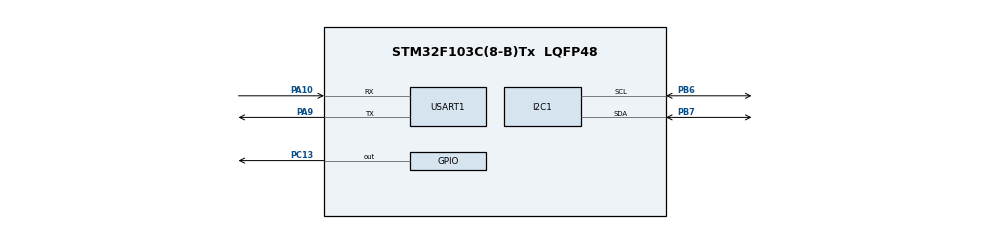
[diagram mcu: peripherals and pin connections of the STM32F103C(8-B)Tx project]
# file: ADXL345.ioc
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Mcu.Family=STM32F1
Mcu.Name=STM32F103C(8-B)Tx
Mcu.Package=LQFP48
NVIC.PriorityGroup=NVIC_PRIORITYGROUP_4
PA10.Mode=Asynchronous
PA10.Signal=USART1_RX
PA13.Mode=Serial_Wire
PA13.Signal=SYS_JTMS-SWDIO
PA14.Mode=Serial_Wire
PA14.Signal=SYS_JTCK-SWCLK
PA9.Mode=Asynchronous
PA9.Signal=USART1_TX
PB6.Mode=I2C
PB6.Signal=I2C1_SCL
PB7.Mode=I2C
PB7.Signal=I2C1_SDA
PC13-TAMPER-RTC.Signal=GPIO_Output
PD0-OSC_IN.Mode=HSE-External-Oscillator
PD0-OSC_IN.Signal=RCC_OSC_IN
PD1-OSC_OUT.Mode=HSE-External-Oscillator
PD1-OSC_OUT.Signal=RCC_OSC_OUT
ProjectManager.HeapSize=0x200
ProjectManager.StackSize=0x400
ProjectManager.TargetToolchain=STM32CubeIDE
RCC.APB1Freq_Value=8000000
RCC.APB2Freq_Value=8000000
USART1.VirtualMode=VM_ASYNC
board=custom

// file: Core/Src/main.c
/* USER CODE BEGIN Header */
/**
  ******************************************************************************
  * @file           : main.c
  * @brief          : Main program body
  ******************************************************************************
  * @attention
  *
  * Copyright (c) 2025 STMicroelectronics.
  * All rights reserved.
  *
  * This software is licensed under terms that can be found in the LICENSE file
  * in the root directory of this software component.
  * If no LICENSE file comes with this software, it is provided AS-IS.
  *
  ******************************************************************************
  */
/* USER CODE END Header */
#include "main.h"
#include "stdio.h"
#include "string.h"

#define ADXL345_ADDR           (0x53 << 1) // shift left for STM32 HAL
#define ADXL345_REG_DEVID      0x00
#define ADXL345_REG_POWER_CTL  0x2D

#define ADXL345_DATA_FORMAT		0x31		// Data Format Control

#define ADXL345_DATAX0			0x32		// X-Axis Data 0
/*
#define ADXL345_DATAX1			0x33		// X-Axis Data 1
#define ADXL345_DATAY0			0x34		// Y-Axis Data 0
#define ADXL345_DATAY1			0x35		// Y-Axis Data 1
#define ADXL345_DATAZ0			0x36		// Z-Axis Data 0
#define ADXL345_DATAZ1			0x37		// Z-Axis Data 1
*/

I2C_HandleTypeDef hi2c1;

UART_HandleTypeDef huart1;

void SystemClock_Config(void);
static void MX_GPIO_Init(void);
static void MX_I2C1_Init(void);
static void MX_USART1_UART_Init(void);

/* USER CODE BEGIN 0 */

int i2cScanner(void)
{

	char addr[14];
	uint8_t  ret;
	uint8_t adxlfound = 0;
	char start[] = "Scan Start ...\r\n";
	char stop[]  = "Scan Stop  ...\r\n";
	char adxl[]  = "Adxl found  ...\r\n";

	MX_I2C1_Init();

	HAL_UART_Transmit(&huart1, (uint8_t*)start, sizeof(start)-1, HAL_MAX_DELAY);

	for (uint8_t i=0;i<128;i++)
	{
		ret = HAL_I2C_IsDeviceReady(&hi2c1, (uint16_t)(i<<1), 3, 5);
		if(ret == HAL_OK)
		{
			sprintf(addr, "Found: 0x%02X\r\n", i);
			HAL_UART_Transmit(&huart1, (uint8_t*)addr, sizeof(addr)-1, HAL_MAX_DELAY);
			if(i == 0x53)
			{
				HAL_UART_Transmit(&huart1, (uint8_t*)adxl, sizeof(adxl)-1, HAL_MAX_DELAY);
				adxlfound=1;
			}
		}
	}

	HAL_UART_Transmit(&huart1, (uint8_t*)stop, sizeof(stop)-1, HAL_MAX_DELAY);

	return adxlfound;
}

int ADXL345_Init(void)
{
    uint8_t byte,ret;

    //Read Device ID
    ret = HAL_I2C_Mem_Read(&hi2c1, ADXL345_ADDR, ADXL345_REG_DEVID, 1, &byte, 1, HAL_MAX_DELAY);  //READ DEV_ID
    if(ret != HAL_OK)
    {
    	return 0;
    }
    if (byte != 0xE5)
    {
        return 0;
    }

    //Reset power control register
    byte = 0x00;  // reset all bits;
	HAL_I2C_Mem_Write(&hi2c1, ADXL345_ADDR, ADXL345_REG_POWER_CTL, 1, &byte, 1, HAL_MAX_DELAY);

	// Set device to measurement mode
	byte = 0x08;  // Measure mode 8hz
	HAL_I2C_Mem_Write(&hi2c1, ADXL345_ADDR, ADXL345_REG_POWER_CTL, 1, &byte, 1, HAL_MAX_DELAY);

	byte = 0x01| (1 << 3);  //Measurement range = ±4g
	HAL_I2C_Mem_Write(&hi2c1, ADXL345_ADDR, ADXL345_DATA_FORMAT, 1, &byte, 1, HAL_MAX_DELAY);

    return 1;
}

void ADXL345_Read_XYZ(int16_t* x, int16_t* y, int16_t* z)
{
    uint8_t buffer[6];
    HAL_I2C_Mem_Read(&hi2c1, ADXL345_ADDR, ADXL345_DATAX0, 1, buffer, 6, HAL_MAX_DELAY);

    *x = (int16_t)((buffer[1] << 8) | buffer[0]);
    *y = (int16_t)((buffer[3] << 8) | buffer[2]);
    *z = (int16_t)((buffer[5] << 8) | buffer[4]);
}

/* USER CODE END 0 */

int main(void)
{

	int16_t x, y, z;
	char adxl_axis[64];
  char* msg;

  /* MCU Configuration--------------------------------------------------------*/

  /* Reset of all peripherals, Initializes the Flash interface and the Systick. */
  HAL_Init();

  /* Configure the system clock */
  SystemClock_Config();

  /* Initialize all configured peripherals */
  MX_GPIO_Init();
  MX_I2C1_Init();
  MX_USART1_UART_Init();
  /* USER CODE BEGIN 2 */

  while(1)
  {
	  if(i2cScanner())
	  {
		  if( ADXL345_Init()== 1)
		  {
			  while (1)
			  {

				 if (HAL_I2C_IsDeviceReady(&hi2c1, ADXL345_ADDR, 3, 100) != HAL_OK)
				 {
				        msg = "ADXL345 disconnected!\r\n";
				        HAL_UART_Transmit(&huart1, (uint8_t*)msg, strlen(msg), HAL_MAX_DELAY);
				        break;
				 }

				 ADXL345_Read_XYZ(&x, &y, &z);
				 sprintf(adxl_axis, "X: %d Y: %d Z: %d\r\n", x, y, z);
				 HAL_UART_Transmit(&huart1, (uint8_t*)adxl_axis, strlen(adxl_axis), HAL_MAX_DELAY);
				 HAL_Delay(500);
			  }
		  }

		  else
		  {
				  HAL_GPIO_WritePin(GPIOC, GPIO_PIN_13, GPIO_PIN_SET);  // Set PC13 HIGH
				  msg = "ADXL345 Init Failed!\r\n";
				  HAL_UART_Transmit(&huart1, (uint8_t*)msg, strlen(msg), HAL_MAX_DELAY);
				  HAL_Delay(1000);
				  HAL_GPIO_WritePin(GPIOC, GPIO_PIN_13, GPIO_PIN_RESET); // Set PC13 LOW
				  HAL_Delay(1000);
		  }
	  }
	  else
	  {
		  HAL_GPIO_WritePin(GPIOC, GPIO_PIN_13, GPIO_PIN_SET);  // Set PC13 HIGH
		  msg = "ADXL345 NOT FOUND!\r\n";
		  HAL_UART_Transmit(&huart1, (uint8_t*)msg, strlen(msg), HAL_MAX_DELAY);
		  HAL_Delay(1000);
		  HAL_GPIO_WritePin(GPIOC, GPIO_PIN_13, GPIO_PIN_RESET); // Set PC13 LOW
		  HAL_Delay(1000);
	  }
  }

}

void SystemClock_Config(void)
{
  RCC_OscInitTypeDef RCC_OscInitStruct = {0};
  RCC_ClkInitTypeDef RCC_ClkInitStruct = {0};

  /** Initializes the RCC Oscillators according to the specified parameters
  * in the RCC_OscInitTypeDef structure.
  */
  RCC_OscInitStruct.OscillatorType = RCC_OSCILLATORTYPE_HSI;
  RCC_OscInitStruct.HSIState = RCC_HSI_ON;
  RCC_OscInitStruct.HSICalibrationValue = RCC_HSICALIBRATION_DEFAULT;
  RCC_OscInitStruct.PLL.PLLState = RCC_PLL_NONE;
  if (HAL_RCC_OscConfig(&RCC_OscInitStruct) != HAL_OK)
  {
    Error_Handler();
  }

  /** Initializes the CPU, AHB and APB buses clocks
  */
  RCC_ClkInitStruct.ClockType = RCC_CLOCKTYPE_HCLK|RCC_CLOCKTYPE_SYSCLK
                              |RCC_CLOCKTYPE_PCLK1|RCC_CLOCKTYPE_PCLK2;
  RCC_ClkInitStruct.SYSCLKSource = RCC_SYSCLKSOURCE_HSI;
  RCC_ClkInitStruct.AHBCLKDivider = RCC_SYSCLK_DIV1;
  RCC_ClkInitStruct.APB1CLKDivider = RCC_HCLK_DIV1;
  RCC_ClkInitStruct.APB2CLKDivider = RCC_HCLK_DIV1;

  if (HAL_RCC_ClockConfig(&RCC_ClkInitStruct, FLASH_LATENCY_0) != HAL_OK)
  {
    Error_Handler();
  }
}

static void MX_I2C1_Init(void)
{

  hi2c1.Instance = I2C1;
  hi2c1.Init.ClockSpeed = 100000;
  hi2c1.Init.DutyCycle = I2C_DUTYCYCLE_2;
  hi2c1.Init.OwnAddress1 = 0;
  hi2c1.Init.AddressingMode = I2C_ADDRESSINGMODE_7BIT;
  hi2c1.Init.DualAddressMode = I2C_DUALADDRESS_DISABLE;
  hi2c1.Init.OwnAddress2 = 0;
  hi2c1.Init.GeneralCallMode = I2C_GENERALCALL_DISABLE;
  hi2c1.Init.NoStretchMode = I2C_NOSTRETCH_DISABLE;
  if (HAL_I2C_Init(&hi2c1) != HAL_OK)
  {
    Error_Handler();
  }

}

static void MX_USART1_UART_Init(void)
{

  huart1.Instance = USART1;
  huart1.Init.BaudRate = 9600;
  huart1.Init.WordLength = UART_WORDLENGTH_8B;
  huart1.Init.StopBits = UART_STOPBITS_1;
  huart1.Init.Parity = UART_PARITY_NONE;
  huart1.Init.Mode = UART_MODE_TX_RX;
  huart1.Init.HwFlowCtl = UART_HWCONTROL_NONE;
  huart1.Init.OverSampling = UART_OVERSAMPLING_16;
  if (HAL_UART_Init(&huart1) != HAL_OK)
  {
    Error_Handler();
  }

}

static void MX_GPIO_Init(void)
{
  GPIO_InitTypeDef GPIO_InitStruct = {0};

  /* GPIO Ports Clock Enable */
  __HAL_RCC_GPIOC_CLK_ENABLE();
  __HAL_RCC_GPIOD_CLK_ENABLE();
  __HAL_RCC_GPIOA_CLK_ENABLE();
  __HAL_RCC_GPIOB_CLK_ENABLE();

  /*Configure GPIO pin Output Level */
  HAL_GPIO_WritePin(GPIOC, GPIO_PIN_13, GPIO_PIN_RESET);

  /*Configure GPIO pin : PC13 */
  GPIO_InitStruct.Pin = GPIO_PIN_13;
  GPIO_InitStruct.Mode = GPIO_MODE_OUTPUT_PP;
  GPIO_InitStruct.Pull = GPIO_NOPULL;
  GPIO_InitStruct.Speed = GPIO_SPEED_FREQ_LOW;
  HAL_GPIO_Init(GPIOC, &GPIO_InitStruct);

}

void Error_Handler(void)
{
  __disable_irq();
  while (1)
  {
  }
}
